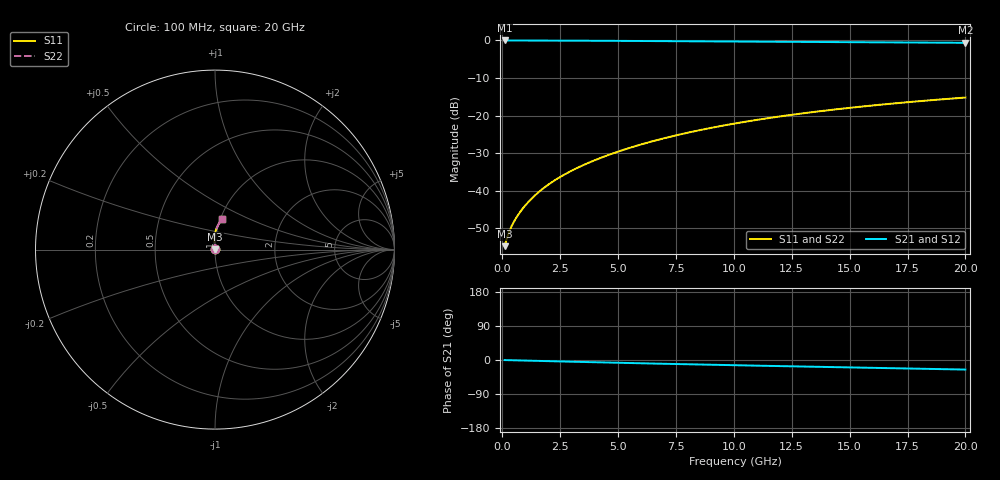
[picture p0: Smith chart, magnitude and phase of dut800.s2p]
! Touchstone file exported from HFSS 2024.1.0
!  File:  C:/UserFiles/LocalFiles/RDL_TSV_Batchsim/temp_RDL_top_800_1779853729.aedt
!  Generated:  11:50:58 AM May 27, 2026
!  Design:  RDL_top
!  Project:  temp_RDL_top_800_1779853729
!  Setup:  Setup1
!  Solution:  Sweep
! Variables:
!  dtsv = 10.80580581um
!  hbump = 3um
!  htsv = 95.8um
!  ldown = 100um
!  lrdl = 408.88um
!  p = 40
!  p1 = 40.22um
!  rhole = 1um
!  t = 450um
!  tdown = 3.915915916um
!  trdl = 3.88um
!  wdown = 15.38538539um
!  wrdl = 26.52um
# GHz S MA R 50.000000
! Terminal data exported
! Port[1] = Box2_T1
! Port[2] = Box2_T2
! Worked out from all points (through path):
!   200 points, 100 MHz to 20 GHz, reference 50 ohm
!   highest |S21| = -0.01 dB at 100 MHz (marker M1); lowest = -0.6 dB at 20 GHz (marker M2)
!   group delay of S21, straight-line fit = 3.45 ps
!   lowest |S11| = -54.7 dB at 100 MHz (marker M3), VSWR 1.00, Z = 50.2 + j0.0802 ohm
!   |S11| at or under -10 dB: start of sweep to end of sweep
!   |S22| runs from -54.7 to -15.2 dB; largest |S21 - S12| = 2.7e-15
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0.1  0.001835 25.8  0.9983 -0.2  0.9983 -0.2  0.001835 25.8
! Gamma 0 0 0 0
! Port Impedance 50 0 50 0
0.2  0.002342 40.2  0.9982 -0.3  0.9982 -0.3  0.002342 40.2
0.3  0.002872 48.0  0.998 -0.5  0.998 -0.5  0.002872 48.1
0.4  0.003379 53.4  0.9979 -0.6  0.9979 -0.6  0.00338 53.4
0.5  0.003873 57.7  0.9977 -0.8  0.9977 -0.8  0.003875 57.7
0.8  0.005379 67.1  0.9974 -1.2  0.9974 -1.2  0.005381 67.1
1  0.006429 71.5  0.9971 -1.5  0.9971 -1.5  0.006431 71.5
1.2  0.007517 74.9  0.9969 -1.8  0.9969 -1.8  0.007519 74.9
1.7  0.01037 80.9  0.996 -2.6  0.996 -2.6  0.01037 80.8
2.2  0.01339 84.8  0.9949 -3.3  0.9949 -3.3  0.01339 84.7
2.8  0.01721 87.9  0.9933 -4.2  0.9933 -4.2  0.01721 87.9
3.5  0.02196 90.5  0.9911 -5.2  0.9911 -5.2  0.02196 90.4
4.2  0.02702 92.2  0.9886 -6.2  0.9886 -6.2  0.02701 92.1
5  0.03318 93.3  0.9855 -7.3  0.9855 -7.3  0.03317 93.3
5.9  0.04054 93.9  0.9817 -8.6  0.9817 -8.6  0.04052 93.9
6.8  0.04831 94.0  0.9779 -9.7  0.9779 -9.7  0.04827 93.9
8.4  0.06288 93.1  0.971 -11.8  0.971 -11.8  0.06283 93.0
10.1  0.07907 91.3  0.9639 -13.9  0.9639 -13.9  0.079 91.3
11.7  0.09465 89.3  0.9576 -15.8  0.9576 -15.8  0.09456 89.2
13.4  0.1113 86.9  0.9512 -17.8  0.9512 -17.8  0.1112 86.8
16.7  0.1432 82.0  0.9397 -21.5  0.9397 -21.5  0.143 81.9
20  0.1739 77.2  0.9289 -25.2  0.9289 -25.2  0.1737 77.1
